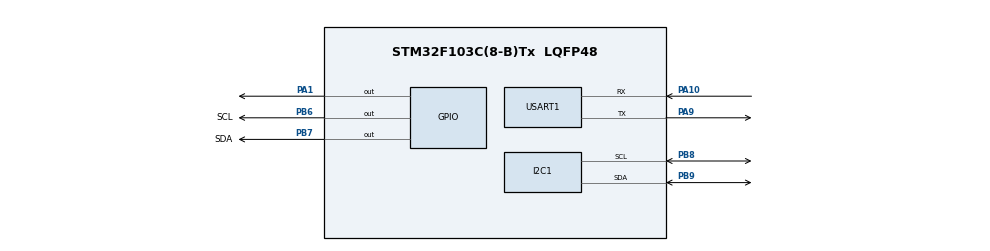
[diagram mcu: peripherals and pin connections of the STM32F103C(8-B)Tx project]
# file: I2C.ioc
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Dma.I2C1_RX.0.Direction=DMA_PERIPH_TO_MEMORY
Dma.I2C1_RX.0.Instance=DMA1_Channel7
Dma.I2C1_RX.0.MemDataAlignment=DMA_MDATAALIGN_BYTE
Dma.I2C1_RX.0.MemInc=DMA_MINC_ENABLE
Dma.I2C1_RX.0.Mode=DMA_NORMAL
Dma.I2C1_RX.0.PeriphDataAlignment=DMA_PDATAALIGN_BYTE
Dma.I2C1_RX.0.PeriphInc=DMA_PINC_DISABLE
Dma.I2C1_RX.0.Priority=DMA_PRIORITY_LOW
Dma.I2C1_TX.1.Direction=DMA_MEMORY_TO_PERIPH
Dma.I2C1_TX.1.Instance=DMA1_Channel6
Dma.I2C1_TX.1.MemDataAlignment=DMA_MDATAALIGN_BYTE
Dma.I2C1_TX.1.MemInc=DMA_MINC_ENABLE
Dma.I2C1_TX.1.Mode=DMA_NORMAL
Dma.I2C1_TX.1.PeriphDataAlignment=DMA_PDATAALIGN_BYTE
Dma.I2C1_TX.1.PeriphInc=DMA_PINC_DISABLE
Dma.I2C1_TX.1.Priority=DMA_PRIORITY_LOW
Dma.Request0=I2C1_RX
Dma.Request1=I2C1_TX
Mcu.Family=STM32F1
Mcu.Name=STM32F103C(8-B)Tx
Mcu.Package=LQFP48
NVIC.DMA1_Channel6_IRQn=true\:0\:0\:false\:false\:true\:false\:true\:true
NVIC.DMA1_Channel7_IRQn=true\:0\:0\:false\:false\:true\:false\:true\:true
NVIC.I2C1_ER_IRQn=true\:0\:0\:false\:false\:true\:true\:true\:true
NVIC.I2C1_EV_IRQn=true\:0\:0\:false\:false\:true\:true\:true\:true
NVIC.PriorityGroup=NVIC_PRIORITYGROUP_4
PA1.GPIO_ModeDefaultOutputPP=GPIO_MODE_OUTPUT_PP
PA1.GPIO_PuPd=GPIO_NOPULL
PA1.Signal=GPIO_Output
PA10.GPIO_PuPd=GPIO_NOPULL
PA10.Mode=Asynchronous
PA10.Signal=USART1_RX
PA13.Mode=Serial_Wire
PA13.Signal=SYS_JTMS-SWDIO
PA14.Mode=Serial_Wire
PA14.Signal=SYS_JTCK-SWCLK
PA9.GPIO_Speed=GPIO_SPEED_FREQ_LOW
PA9.Mode=Asynchronous
PA9.Signal=USART1_TX
PB6.GPIO_Label=SCL
PB6.GPIO_ModeDefaultOutputPP=GPIO_MODE_OUTPUT_OD
PB6.GPIO_PuPd=GPIO_NOPULL
PB6.Signal=GPIO_Output
PB7.GPIO_Label=SDA
PB7.GPIO_ModeDefaultOutputPP=GPIO_MODE_OUTPUT_OD
PB7.GPIO_PuPd=GPIO_NOPULL
PB7.Signal=GPIO_Output
PB8.Mode=I2C
PB8.Signal=I2C1_SCL
PB9.Mode=I2C
PB9.Signal=I2C1_SDA
ProjectManager.HeapSize=0x200
ProjectManager.StackSize=0x400
ProjectManager.TargetToolchain=CMake
RCC.APB1Freq_Value=8000000
RCC.APB2Freq_Value=8000000
USART1.VirtualMode=VM_ASYNC
board=custom

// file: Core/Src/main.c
/* USER CODE BEGIN Header */
/**
  ******************************************************************************
  * @file           : main.c
  * @brief          : Main program body
  ******************************************************************************
  * @attention
  *
  * Copyright (c) 2026 STMicroelectronics.
  * All rights reserved.
  *
  * This software is licensed under terms that can be found in the LICENSE file
  * in the root directory of this software component.
  * If no LICENSE file comes with this software, it is provided AS-IS.
  *
  ******************************************************************************
  */
/* USER CODE END Header */
#include "main.h"

/* USER CODE BEGIN Includes */
#include <string.h>
#include "stm32f103xb.h"
#include "stm32f1xx_hal.h"
#include "stm32f1xx_hal_def.h"
#include "stm32f1xx_hal_gpio.h"
#include "stm32f1xx_hal_i2c.h"
#include "stm32f1xx_hal_uart.h"
#include "string.h"
#include "stdio.h"
#include "I2C.h"
#include "MPU6050.h"
/* USER CODE END Includes */

I2C_HandleTypeDef hi2c1;
DMA_HandleTypeDef hdma_i2c1_rx;
DMA_HandleTypeDef hdma_i2c1_tx;

UART_HandleTypeDef huart1;

/* USER CODE BEGIN PV */
uint16_t AX,AY,AZ;
uint16_t GX,GY,GZ;
uint8_t rx_buf[14];
char tx_buf[100];
/* USER CODE END PV */

void SystemClock_Config(void);
static void MX_GPIO_Init(void);
static void MX_DMA_Init(void);
static void MX_I2C1_Init(void);
static void MX_USART1_UART_Init(void);

int main(void)
{

  /* MCU Configuration--------------------------------------------------------*/

  /* Reset of all peripherals, Initializes the Flash interface and the Systick. */
  HAL_Init();

  /* Configure the system clock */
  SystemClock_Config();

  /* Initialize all configured peripherals */
  MX_GPIO_Init();
  MX_DMA_Init();
  MX_I2C1_Init();
  MX_USART1_UART_Init();
  /* USER CODE BEGIN 2 */
  uint8_t cmd = 0x00;
  HAL_I2C_Mem_Write(&hi2c1,0xD0,0x6B,I2C_MEMADD_SIZE_8BIT,&cmd,1,100);
  HAL_Delay(50);

 /* MPU6050_writebyte_full(0x00,0x6B);
  HAL_Delay(50);*/

  /* USER CODE END 2 */

  /* Infinite loop */
  /* USER CODE BEGIN WHILE */
  while (1)
  {
   if(HAL_I2C_Mem_Read(&hi2c1,0xD0,0x3B,I2C_MEMADD_SIZE_8BIT,rx_buf,14,100) == HAL_OK)
   {
      AX = (rx_buf[0] << 8) | rx_buf[1];
      AY = (rx_buf[2] << 8) | rx_buf[3];
      AZ = (rx_buf[4] << 8) | rx_buf[5];
      GX = (rx_buf[8] << 8) | rx_buf[9];
      GY = (rx_buf[10] << 8) | rx_buf[11];
      GZ = (rx_buf[12] << 8) | rx_buf[13];

      sprintf(tx_buf,"AX:%d AY:%d AZ:%d | GX:%d GY:%d GZ:%d\r\n",AX,AY,AZ,GX,GY,GZ);
      HAL_UART_Transmit(&huart1,(uint8_t *)tx_buf,strlen(tx_buf),100);
   }
   HAL_Delay(1000);

    /*MPU6050_Getdata(&AX,&AY,&AZ,&GX,&GY,&GZ);
    sprintf(tx_buf,"AX:%d AY:%d AZ:%d | GX:%d GY:%d GZ:%d\r\n",AX,AY,AZ,GX,GY,GZ);
    HAL_UART_Transmit(&huart1,(uint8_t *)tx_buf,strlen(tx_buf),100);
    HAL_Delay(1000);*/
}
    /* USER CODE END WHILE */

}

void SystemClock_Config(void)
{
  RCC_OscInitTypeDef RCC_OscInitStruct = {0};
  RCC_ClkInitTypeDef RCC_ClkInitStruct = {0};

  /** Initializes the RCC Oscillators according to the specified parameters
  * in the RCC_OscInitTypeDef structure.
  */
  RCC_OscInitStruct.OscillatorType = RCC_OSCILLATORTYPE_HSI;
  RCC_OscInitStruct.HSIState = RCC_HSI_ON;
  RCC_OscInitStruct.HSICalibrationValue = RCC_HSICALIBRATION_DEFAULT;
  RCC_OscInitStruct.PLL.PLLState = RCC_PLL_NONE;
  if (HAL_RCC_OscConfig(&RCC_OscInitStruct) != HAL_OK)
  {
    Error_Handler();
  }

  /** Initializes the CPU, AHB and APB buses clocks
  */
  RCC_ClkInitStruct.ClockType = RCC_CLOCKTYPE_HCLK|RCC_CLOCKTYPE_SYSCLK
                              |RCC_CLOCKTYPE_PCLK1|RCC_CLOCKTYPE_PCLK2;
  RCC_ClkInitStruct.SYSCLKSource = RCC_SYSCLKSOURCE_HSI;
  RCC_ClkInitStruct.AHBCLKDivider = RCC_SYSCLK_DIV1;
  RCC_ClkInitStruct.APB1CLKDivider = RCC_HCLK_DIV1;
  RCC_ClkInitStruct.APB2CLKDivider = RCC_HCLK_DIV1;

  if (HAL_RCC_ClockConfig(&RCC_ClkInitStruct, FLASH_LATENCY_0) != HAL_OK)
  {
    Error_Handler();
  }
}

static void MX_I2C1_Init(void)
{

  hi2c1.Instance = I2C1;
  hi2c1.Init.ClockSpeed = 100000;
  hi2c1.Init.DutyCycle = I2C_DUTYCYCLE_2;
  hi2c1.Init.OwnAddress1 = 0;
  hi2c1.Init.AddressingMode = I2C_ADDRESSINGMODE_7BIT;
  hi2c1.Init.DualAddressMode = I2C_DUALADDRESS_DISABLE;
  hi2c1.Init.OwnAddress2 = 0;
  hi2c1.Init.GeneralCallMode = I2C_GENERALCALL_DISABLE;
  hi2c1.Init.NoStretchMode = I2C_NOSTRETCH_DISABLE;
  if (HAL_I2C_Init(&hi2c1) != HAL_OK)
  {
    Error_Handler();
  }

}

static void MX_USART1_UART_Init(void)
{

  huart1.Instance = USART1;
  huart1.Init.BaudRate = 115200;
  huart1.Init.WordLength = UART_WORDLENGTH_8B;
  huart1.Init.StopBits = UART_STOPBITS_1;
  huart1.Init.Parity = UART_PARITY_NONE;
  huart1.Init.Mode = UART_MODE_TX_RX;
  huart1.Init.HwFlowCtl = UART_HWCONTROL_NONE;
  huart1.Init.OverSampling = UART_OVERSAMPLING_16;
  if (HAL_UART_Init(&huart1) != HAL_OK)
  {
    Error_Handler();
  }

}

static void MX_DMA_Init(void)
{

  /* DMA controller clock enable */
  __HAL_RCC_DMA1_CLK_ENABLE();

  /* DMA interrupt init */
  /* DMA1_Channel6_IRQn interrupt configuration */
  HAL_NVIC_SetPriority(DMA1_Channel6_IRQn, 0, 0);
  HAL_NVIC_EnableIRQ(DMA1_Channel6_IRQn);
  /* DMA1_Channel7_IRQn interrupt configuration */
  HAL_NVIC_SetPriority(DMA1_Channel7_IRQn, 0, 0);
  HAL_NVIC_EnableIRQ(DMA1_Channel7_IRQn);

}

static void MX_GPIO_Init(void)
{
  GPIO_InitTypeDef GPIO_InitStruct = {0};

  /* GPIO Ports Clock Enable */
  __HAL_RCC_GPIOA_CLK_ENABLE();
  __HAL_RCC_GPIOB_CLK_ENABLE();

  /*Configure GPIO pin Output Level */
  HAL_GPIO_WritePin(GPIOA, GPIO_PIN_1, GPIO_PIN_RESET);

  /*Configure GPIO pin Output Level */
  HAL_GPIO_WritePin(GPIOB, SCL_Pin|SDA_Pin, GPIO_PIN_RESET);

  /*Configure GPIO pin : PA1 */
  GPIO_InitStruct.Pin = GPIO_PIN_1;
  GPIO_InitStruct.Mode = GPIO_MODE_OUTPUT_PP;
  GPIO_InitStruct.Pull = GPIO_NOPULL;
  GPIO_InitStruct.Speed = GPIO_SPEED_FREQ_LOW;
  HAL_GPIO_Init(GPIOA, &GPIO_InitStruct);

  /*Configure GPIO pins : SCL_Pin SDA_Pin */
  GPIO_InitStruct.Pin = SCL_Pin|SDA_Pin;
  GPIO_InitStruct.Mode = GPIO_MODE_OUTPUT_OD;
  GPIO_InitStruct.Pull = GPIO_NOPULL;
  GPIO_InitStruct.Speed = GPIO_SPEED_FREQ_LOW;
  HAL_GPIO_Init(GPIOB, &GPIO_InitStruct);

}

void Error_Handler(void)
{
  __disable_irq();
  while (1)
  {
  }
}
